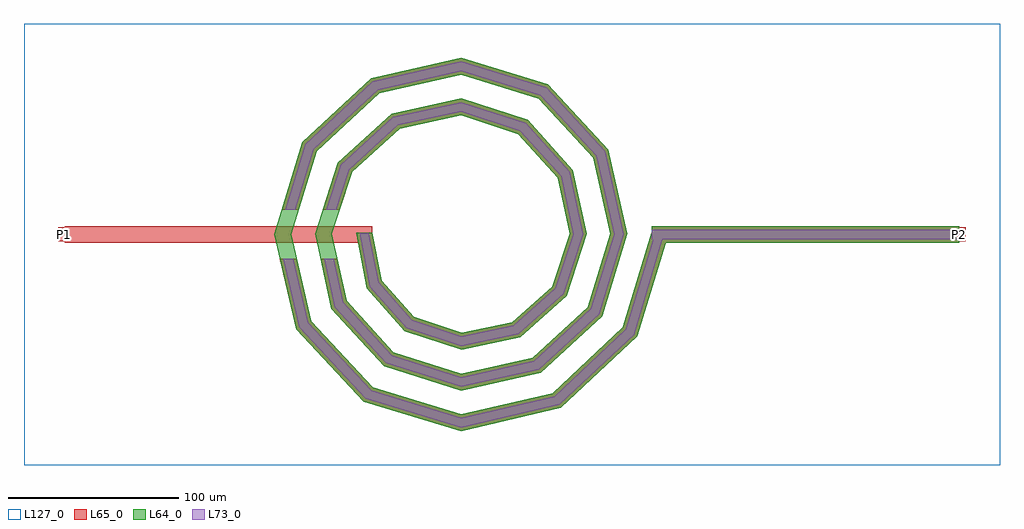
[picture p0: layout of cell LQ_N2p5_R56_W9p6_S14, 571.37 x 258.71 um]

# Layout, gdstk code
import gdstk
lib = gdstk.Library(unit=1e-6, precision=1e-09)
def R(c, l, rs):  # rectangles x0, y0, x1, y1
    for r in rs: c.add(gdstk.rectangle(r[:2], r[2:], *l))
def P(c, l, *ps):  # polygons
    for p in ps: c.add(gdstk.Polygon(p, *l))
L64_0 = (64, 0)
L65_0 = (65, 0)
L73_0 = (73, 0)
L127_0 = (127, 0)

lq_n2p5_r56_w9p6_s14 = lib.new_cell('LQ_N2p5_R56_W9p6_S14')
R(lq_n2p5_r56_w9p6_s14, L64_0, [(111.522,-4.8,291.522,4.8)])
P(lq_n2p5_r56_w9p6_s14, L64_0, [(-46.324,-27.108),(-27.567,-48.356),(0.294,-57.65),(30.066,-51.506),(53.509,-30.574),(63.616,0.269),(56.685,33.029),(33.577,58.665),(0.247,69.583),(-35.995,61.863),(-63.823,36.577),(-75.55,0.229),(-67.039,-38.963),(-39.575,-68.983),(0.213,-81.517),(41.934,-72.215),(74.143,-42.571),(87.485,0.199),(77.389,44.906),(45.566,79.305),(0.187,93.452),(-47.88,82.563),(-84.467,48.559),(-99.42,0.177),(-87.736,-50.855),(-51.552,-89.63),(0.167,-105.387),(53.83,-92.909),(94.794,-54.543),(111.728,1.391),(120.916,-1.391),(103.236,-59.79),(58.513,-101.676),(0.167,-115.321),(-56.813,-98.063),(-96.512,-55.521),(-109.353,0.177),(-92.89,53.838),(-52.528,91.349),(0.187,103.385),(50.863,87.715),(86.186,49.534),(97.417,0.199),(82.54,-47.89),(46.538,-81.024),(0.213,-91.448),(-44.918,-77.365),(-75.862,-43.541),(-85.48,0.229),(-72.187,41.948),(-40.542,70.702),(0.247,79.511),(38.981,67.009),(65.543,37.54),(73.543,0.269),(61.828,-36.016),(34.535,-60.386),(0.294,-67.573),(-33.055,-56.645),(-55.231,-31.525),(-61.351,0.942),(-51.937,0.942)])
R(lq_n2p5_r56_w9p6_s14, L65_0, [(-231.844,-4.8,-51.844,4.8), (111.522,-4.8,291.522,4.8), (-235.844,-4,-227.844,4), (287.522,-4,295.522,4)])
P(lq_n2p5_r56_w9p6_s14, L65_0, [(-87.736,-50.855),(-51.552,-89.63),(0.167,-105.387),(53.83,-92.909),(94.794,-54.543),(111.728,1.391),(120.916,-1.391),(103.236,-59.79),(58.513,-101.676),(0.167,-115.321),(-56.813,-98.063),(-96.512,-55.521),(-105.992,-14.4),(-96.141,-14.4)],
  [(-67.039,-38.963),(-39.575,-68.983),(0.213,-81.518),(41.934,-72.215),(74.143,-42.571),(87.485,0.199),(77.389,44.906),(45.566,79.305),(0.187,93.452),(-47.88,82.563),(-84.467,48.559),(-94.948,14.4),(-104.989,14.4),(-92.89,53.838),(-52.528,91.349),(0.187,103.385),(50.863,87.715),(86.186,49.534),(97.417,0.199),(82.541,-47.89),(46.538,-81.024),(0.213,-91.448),(-44.918,-77.365),(-75.862,-43.541),(-82.266,-14.4),(-72.437,-14.4)],
  [(-27.567,-48.356),(0.294,-57.65),(30.066,-51.506),(53.509,-30.574),(63.616,0.269),(56.685,33.029),(33.577,58.665),(0.247,69.583),(-35.995,61.863),(-63.823,36.577),(-70.889,14.4),(-80.965,14.4),(-72.187,41.949),(-40.542,70.702),(0.247,79.511),(38.981,67.009),(65.543,37.54),(73.543,0.269),(61.828,-36.016),(34.535,-60.386),(0.294,-67.573),(-33.055,-56.645),(-55.231,-31.525),(-61.351,0.942),(-51.937,0.942),(-46.324,-27.108)])
R(lq_n2p5_r56_w9p6_s14, L73_0, [(111.522,-2.8,291.522,2.8)])
P(lq_n2p5_r56_w9p6_s14, L73_0, [(-89.564,-51.827),(-52.648,-91.387),(0.098,-107.457),(54.806,-94.735),(96.553,-55.636),(113.642,0.811),(119.002,0.811),(101.477,-58.697),(57.538,-99.849),(0.098,-113.252),(-55.717,-96.306),(-94.684,-54.549),(-103.94,-14.4),(-98.193,-14.4)],
  [(-68.877,-39.917),(-40.688,-70.729),(0.124,-83.586),(42.893,-74.05),(75.893,-43.679),(89.554,0.116),(79.222,45.87),(46.67,81.057),(0.109,95.522),(-48.848,84.393),(-86.222,49.659),(-97.04,14.4),(-102.897,14.4),(-91.135,52.738),(-51.56,89.518),(0.109,101.316),(49.76,85.963),(84.353,48.57),(95.348,0.116),(80.791,-46.782),(45.579,-79.188),(0.124,-89.379),(-43.805,-75.618),(-74.024,-42.587),(-80.218,-14.4),(-74.484,-14.4)],
  [(-28.711,-50.083),(0.172,-59.717),(30.997,-53.356),(55.242,-31.708),(65.684,0.157),(58.531,33.969),(34.703,60.404),(0.144,71.652),(-36.942,63.704),(-65.566,37.696),(-72.988,14.4),(-78.866,14.4),(-70.445,40.83),(-39.595,68.861),(0.144,77.443),(37.855,65.271),(63.698,36.6),(71.475,0.157),(60.095,-34.882),(33.604,-58.536),(0.172,-65.506),(-31.912,-54.918),(-53.375,-30.605),(-59.389,0.549),(-53.898,0.549),(-48.18,-28.028)])
R(lq_n2p5_r56_w9p6_s14, L127_0, [(-255.844,-135.321,315.522,123.385)])
lq_n2p5_r56_w9p6_s14.add(gdstk.Label('P2', (291.522,0), layer=65, texttype=0))
lq_n2p5_r56_w9p6_s14.add(gdstk.Label('P1', (-231.844,0), layer=65, texttype=0))
lq_n2p5_r56_w9p6_s14.add(gdstk.Label('P2', (295.522,0), layer=145, texttype=0))
lq_n2p5_r56_w9p6_s14.add(gdstk.Label('P1', (-235.844,0), layer=145, texttype=0))

lib.write_gds('LQ_N2p5_R56_W9p6_S14.gds')
